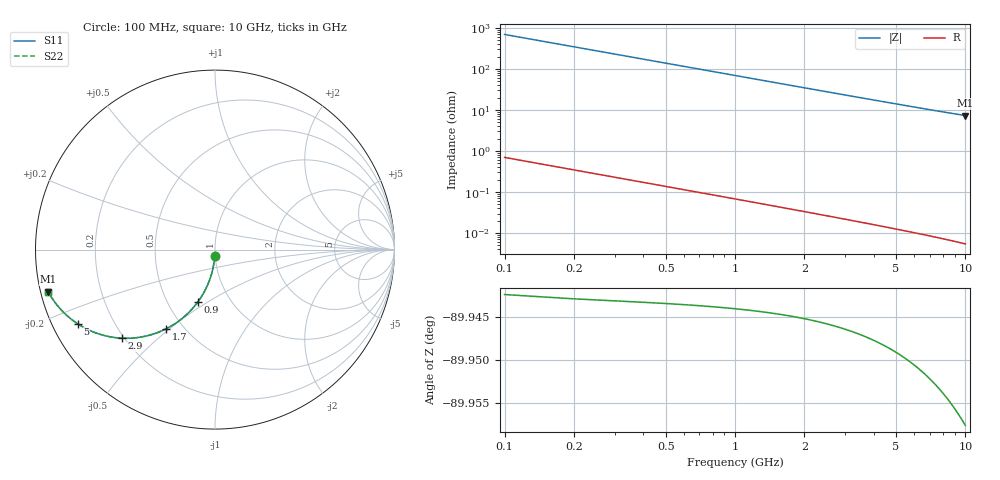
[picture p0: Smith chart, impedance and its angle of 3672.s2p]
# Hz S RI R 50.00
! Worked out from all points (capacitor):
!   100 points, 100 MHz to 10 GHz, reference 50 ohm
!   read as one part in shunt: C = 2.29 pF near 100 MHz
!   lowest |Z| = 7.34 ohm at 10 GHz (marker M1)
!   S11 on the Smith chart (normalised r, x): 100 MHz: 0.99, -0.07; 900 MHz: 0.71, -0.45; 1.7 GHz: 0.40, -0.49; 2.9 GHz: 0.19, -0.39; 5 GHz: 0.07, -0.25; 10 GHz: 0.02, -0.12
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1e8  -0.00125 -0.0357  0.9986 -0.0361  0.9986 -0.0361  -0.00125 -0.0357
2e8  -0.00513 -0.0711  0.9947 -0.0719  0.9947 -0.0719  -0.00513 -0.0711
3e8  -0.0115 -0.1059  0.9883 -0.1071  0.9883 -0.1071  -0.0115 -0.1059
4e8  -0.0203 -0.14  0.9796 -0.1415  0.9796 -0.1415  -0.0203 -0.14
5e8  -0.0313 -0.173  0.9685 -0.1749  0.9685 -0.1749  -0.0313 -0.173
6e8  -0.0445 -0.2047  0.9553 -0.207  0.9553 -0.207  -0.0445 -0.2047
7e8  -0.0596 -0.235  0.9402 -0.2378  0.9402 -0.2378  -0.0596 -0.235
9e8  -0.0948 -0.2908  0.905 -0.2943  0.905 -0.2943  -0.0948 -0.2908
1.1e9  -0.1352 -0.3394  0.8646 -0.3437  0.8646 -0.3437  -0.1352 -0.3394
1.3e9  -0.1792 -0.3806  0.8206 -0.3856  0.8206 -0.3856  -0.1792 -0.3806
1.7e9  -0.2718 -0.4411  0.728 -0.4478  0.728 -0.4478  -0.2718 -0.4411
1.8e9  -0.295 -0.4521  0.7048 -0.4591  0.7048 -0.4591  -0.295 -0.4521
2.3e9  -0.406 -0.4861  0.5939 -0.4951  0.5939 -0.4951  -0.406 -0.4861
2.9e9  -0.5208 -0.4934  0.479 -0.5047  0.479 -0.5047  -0.5208 -0.4934
3.4e9  -0.5992 -0.4829  0.4006 -0.4962  0.4006 -0.4962  -0.5992 -0.4829
4.2e9  -0.6955 -0.4513  0.3042 -0.4679  0.3042 -0.4679  -0.6955 -0.4513
5e9  -0.7643 -0.4139  0.2353 -0.4337  0.2353 -0.4337  -0.7643 -0.4139
5.1e9  -0.7714 -0.4092  0.2282 -0.4294  0.2282 -0.4294  -0.7714 -0.4092
5.9e9  -0.8191 -0.3725  0.1805 -0.396  0.1805 -0.396  -0.8191 -0.3725
6.7e9  -0.8541 -0.3388  0.1453 -0.3656  0.1453 -0.3656  -0.8541 -0.3388
8.4e9  -0.9027 -0.2784  0.0966 -0.3124  0.0966 -0.3124  -0.9027 -0.2784
1e10  -0.9298 -0.2335  0.0692 -0.2745  0.0692 -0.2745  -0.9298 -0.2335
